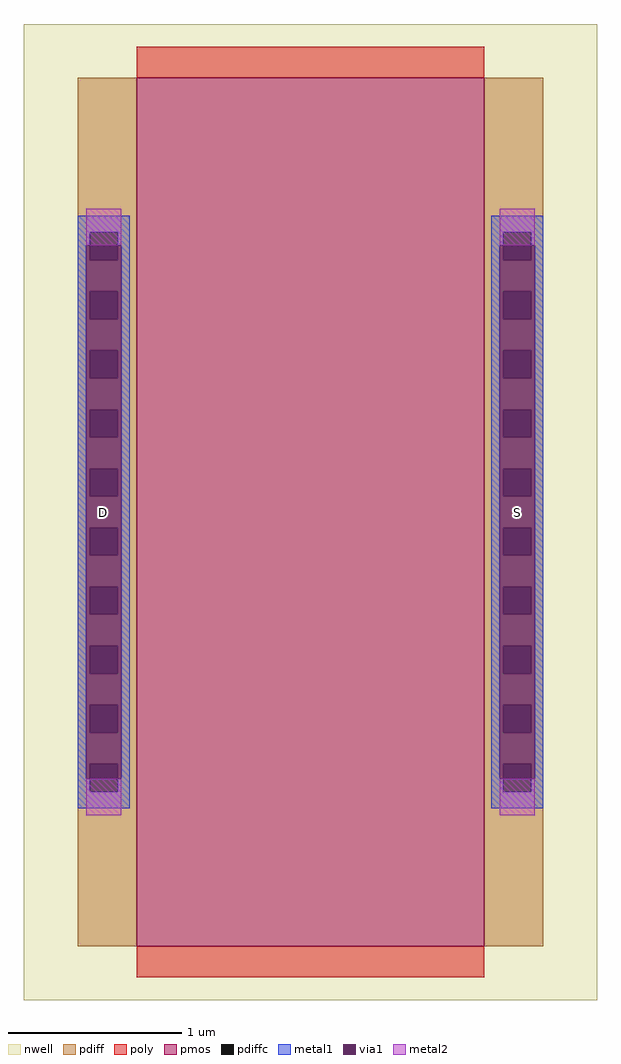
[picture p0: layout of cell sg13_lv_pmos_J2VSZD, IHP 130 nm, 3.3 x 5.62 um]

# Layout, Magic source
magic
tech ihp-sg13g2
magscale 1 2
<< nwell >>
rect -330 -562 330 562
<< pmos >>
rect -200 -500 200 500
<< pdiff >>
rect -268 322 -200 500
rect -268 290 -254 322
rect -222 290 -200 322
rect -268 254 -200 290
rect -268 222 -254 254
rect -222 222 -200 254
rect -268 186 -200 222
rect -268 154 -254 186
rect -222 154 -200 186
rect -268 118 -200 154
rect -268 86 -254 118
rect -222 86 -200 118
rect -268 50 -200 86
rect -268 18 -254 50
rect -222 18 -200 50
rect -268 -18 -200 18
rect -268 -50 -254 -18
rect -222 -50 -200 -18
rect -268 -86 -200 -50
rect -268 -118 -254 -86
rect -222 -118 -200 -86
rect -268 -154 -200 -118
rect -268 -186 -254 -154
rect -222 -186 -200 -154
rect -268 -222 -200 -186
rect -268 -254 -254 -222
rect -222 -254 -200 -222
rect -268 -290 -200 -254
rect -268 -322 -254 -290
rect -222 -322 -200 -290
rect -268 -500 -200 -322
rect 200 322 268 500
rect 200 290 222 322
rect 254 290 268 322
rect 200 254 268 290
rect 200 222 222 254
rect 254 222 268 254
rect 200 186 268 222
rect 200 154 222 186
rect 254 154 268 186
rect 200 118 268 154
rect 200 86 222 118
rect 254 86 268 118
rect 200 50 268 86
rect 200 18 222 50
rect 254 18 268 50
rect 200 -18 268 18
rect 200 -50 222 -18
rect 254 -50 268 -18
rect 200 -86 268 -50
rect 200 -118 222 -86
rect 254 -118 268 -86
rect 200 -154 268 -118
rect 200 -186 222 -154
rect 254 -186 268 -154
rect 200 -222 268 -186
rect 200 -254 222 -222
rect 254 -254 268 -222
rect 200 -290 268 -254
rect 200 -322 222 -290
rect 254 -322 268 -290
rect 200 -500 268 -322
<< pdiffc >>
rect -254 290 -222 322
rect -254 222 -222 254
rect -254 154 -222 186
rect -254 86 -222 118
rect -254 18 -222 50
rect -254 -50 -222 -18
rect -254 -118 -222 -86
rect -254 -186 -222 -154
rect -254 -254 -222 -222
rect -254 -322 -222 -290
rect 222 290 254 322
rect 222 222 254 254
rect 222 154 254 186
rect 222 86 254 118
rect 222 18 254 50
rect 222 -50 254 -18
rect 222 -118 254 -86
rect 222 -186 254 -154
rect 222 -254 254 -222
rect 222 -322 254 -290
<< poly >>
rect -200 500 200 536
rect -200 -536 200 -500
<< metal1 >>
rect -268 322 -208 341
rect -268 307 -254 322
rect -222 307 -208 322
rect -268 -307 -258 307
rect -218 -307 -208 307
rect -268 -322 -254 -307
rect -222 -322 -208 -307
rect -268 -341 -208 -322
rect 208 322 268 341
rect 208 307 222 322
rect 254 307 268 322
rect 208 -307 218 307
rect 258 -307 268 307
rect 208 -322 222 -307
rect 254 -322 268 -307
rect 208 -341 268 -322
<< via1 >>
rect -258 290 -254 307
rect -254 290 -222 307
rect -222 290 -218 307
rect -258 254 -218 290
rect -258 222 -254 254
rect -254 222 -222 254
rect -222 222 -218 254
rect -258 186 -218 222
rect -258 154 -254 186
rect -254 154 -222 186
rect -222 154 -218 186
rect -258 118 -218 154
rect -258 86 -254 118
rect -254 86 -222 118
rect -222 86 -218 118
rect -258 50 -218 86
rect -258 18 -254 50
rect -254 18 -222 50
rect -222 18 -218 50
rect -258 -18 -218 18
rect -258 -50 -254 -18
rect -254 -50 -222 -18
rect -222 -50 -218 -18
rect -258 -86 -218 -50
rect -258 -118 -254 -86
rect -254 -118 -222 -86
rect -222 -118 -218 -86
rect -258 -154 -218 -118
rect -258 -186 -254 -154
rect -254 -186 -222 -154
rect -222 -186 -218 -154
rect -258 -222 -218 -186
rect -258 -254 -254 -222
rect -254 -254 -222 -222
rect -222 -254 -218 -222
rect -258 -290 -218 -254
rect -258 -307 -254 -290
rect -254 -307 -222 -290
rect -222 -307 -218 -290
rect 218 290 222 307
rect 222 290 254 307
rect 254 290 258 307
rect 218 254 258 290
rect 218 222 222 254
rect 222 222 254 254
rect 254 222 258 254
rect 218 186 258 222
rect 218 154 222 186
rect 222 154 254 186
rect 254 154 258 186
rect 218 118 258 154
rect 218 86 222 118
rect 222 86 254 118
rect 254 86 258 118
rect 218 50 258 86
rect 218 18 222 50
rect 222 18 254 50
rect 254 18 258 50
rect 218 -18 258 18
rect 218 -50 222 -18
rect 222 -50 254 -18
rect 254 -50 258 -18
rect 218 -86 258 -50
rect 218 -118 222 -86
rect 222 -118 254 -86
rect 254 -118 258 -86
rect 218 -154 258 -118
rect 218 -186 222 -154
rect 222 -186 254 -154
rect 254 -186 258 -154
rect 218 -222 258 -186
rect 218 -254 222 -222
rect 222 -254 254 -222
rect 254 -254 258 -222
rect 218 -290 258 -254
rect 218 -307 222 -290
rect 222 -307 254 -290
rect 254 -307 258 -290
<< metal2 >>
rect -258 307 -218 349
rect -258 -349 -218 -307
rect 218 307 258 349
rect 218 -349 258 -307
<< labels >>
rlabel metal1 s -238 0 -238 0 4 D
rlabel metal1 s 238 0 238 0 4 S
<< end >>
